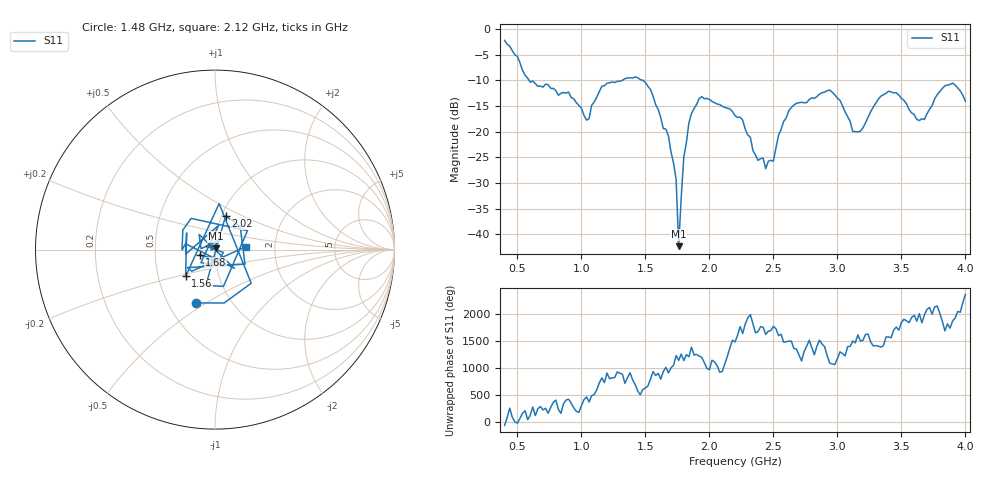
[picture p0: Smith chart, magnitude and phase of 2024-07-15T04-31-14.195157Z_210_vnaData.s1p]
!Created with skrf (http://scikit-rf.org).
# Hz S RI R 50.0
!freq ReS11 ImS11
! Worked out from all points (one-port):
!   181 points, 400 MHz to 4 GHz, reference 50 ohm
!   lowest |S11| = -42.3 dB at 1.76 GHz (marker M1), VSWR 1.02, Z = 50.3 + j0.71 ohm
!   |S11| at or under -10 dB: 590.5 MHz to 1.322 GHz (731.5 MHz wide, 76.5 % of centre); 1.479 GHz to end of sweep
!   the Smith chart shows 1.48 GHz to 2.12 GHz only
!   S11 on the Smith chart (normalised r, x): 1.48 GHz: 0.68, -0.45; 1.56 GHz: 0.69, -0.22; 1.68 GHz: 0.84, -0.05; 2.02 GHz: 1.04, +0.41; 2.12 GHz: 1.41, +0.05
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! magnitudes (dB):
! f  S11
! 400 MHz  -2.3
! 600 MHz  -10.4
! 860 MHz  -12.4
! 1.04 GHz  -17.8
! 1.16 GHz  -11.2
! 1.3 GHz  -10.2
! 1.48 GHz  -10.0
! 1.56 GHz  -13.1
! 1.68 GHz  -20.8
! 1.74 GHz  -29.3
! 1.76 GHz  -42.3
! 1.8 GHz  -25.0
! 1.84 GHz  -18.3
! 1.92 GHz  -13.6
! 2.02 GHz  -14.1
! 2.12 GHz  -15.3
! 2.2 GHz  -16.9
! 2.44 GHz  -27.2
! 2.5 GHz  -25.7
! 2.66 GHz  -14.8
! 2.94 GHz  -11.9
! 3.1 GHz  -18.0
! 3.18 GHz  -19.9
! 3.4 GHz  -12.1
! 3.56 GHz  -15.7
! 3.68 GHz  -17.6
! 3.9 GHz  -10.6
! 4 GHz  -14.1
